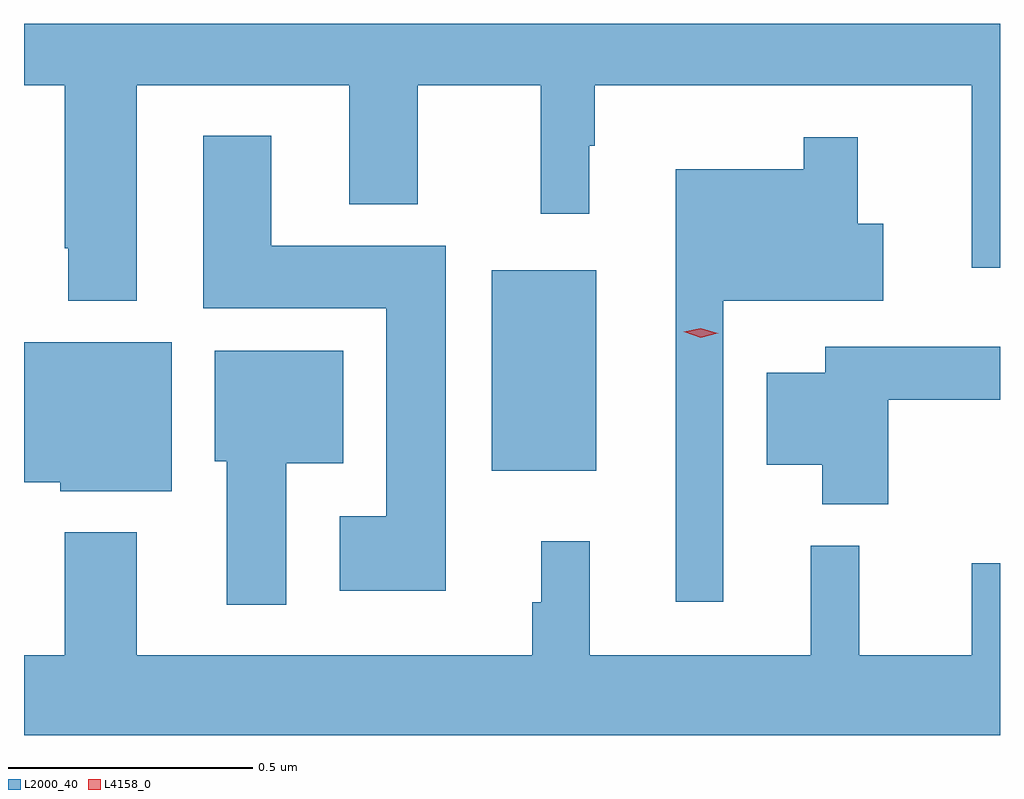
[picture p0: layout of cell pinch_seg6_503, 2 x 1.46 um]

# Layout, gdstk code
import gdstk
lib = gdstk.Library(unit=1e-6, precision=1e-09)
def R(c, l, rs):  # rectangles x0, y0, x1, y1
    for r in rs: c.add(gdstk.rectangle(r[:2], r[2:], *l))
def P(c, l, *ps):  # polygons
    for p in ps: c.add(gdstk.Polygon(p, *l))
L2000_40 = (2000, 40)
L4158_0 = (4158, 0)

pinch_seg6_503 = lib.new_cell('pinch_seg6_503')
R(pinch_seg6_503, L2000_40, [(847.34,939.887,847.555,940.297)])
P(pinch_seg6_503, L2000_40, [(846.613,940.676),(847.049,940.676),(847.049,940.433),(847.189,940.433),(847.189,940.676),(847.441,940.676),(847.441,940.413),(847.54,940.413),(847.54,940.553),(847.552,940.553),(847.552,940.676),(848.324,940.676),(848.324,940.302),(848.382,940.302),(848.382,940.803),(846.382,940.803),(846.382,940.676),(846.466,940.676),(846.466,940.342),(846.473,940.342),(846.473,940.235),(846.613,940.235)],
  [(847.246,940.348),(846.889,940.348),(846.889,940.573),(846.749,940.573),(846.749,940.22),(847.124,940.22),(847.124,939.793),(847.029,939.793),(847.029,939.641),(847.246,939.641)],
  [(847.815,940.235),(848.143,940.235),(848.143,940.393),(848.091,940.393),(848.091,940.57),(847.98,940.57),(847.98,940.504),(847.718,940.504),(847.718,939.618),(847.815,939.618)],
  [(846.685,940.15),(846.382,940.15),(846.382,939.863),(846.456,939.863),(846.456,939.845),(846.685,939.845)],
  [(848.153,940.032),(848.382,940.032),(848.382,940.141),(848.024,940.141),(848.024,940.087),(847.904,940.087),(847.904,939.899),(848.018,939.899),(848.018,939.818),(848.153,939.818)],
  [(846.919,939.902),(847.036,939.902),(847.036,940.132),(846.773,940.132),(846.773,939.906),(846.797,939.906),(846.797,939.612),(846.919,939.612)],
  [(848.382,939.697),(848.324,939.697),(848.324,939.508),(848.094,939.508),(848.094,939.733),(847.994,939.733),(847.994,939.508),(847.541,939.508),(847.541,939.742),(847.442,939.742),(847.442,939.617),(847.423,939.617),(847.423,939.508),(846.613,939.508),(846.613,939.76),(846.466,939.76),(846.466,939.508),(846.382,939.508),(846.382,939.344),(848.382,939.344)])
P(pinch_seg6_503, L4158_0, [(847.769,940.159),(847.734,940.171),(847.733,940.171),(847.734,940.171),(847.769,940.179),(847.804,940.168),(847.805,940.168),(847.804,940.168)])

lib.write_gds('pinch_seg6_503.gds')
